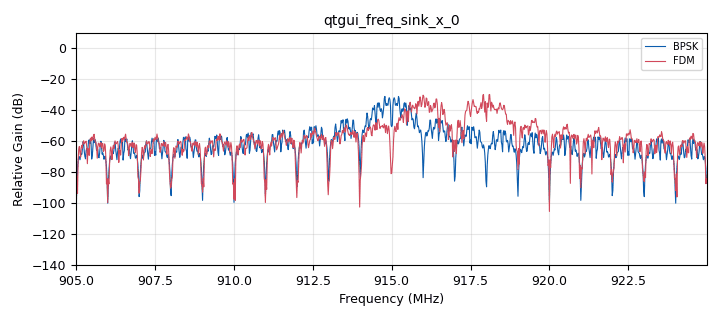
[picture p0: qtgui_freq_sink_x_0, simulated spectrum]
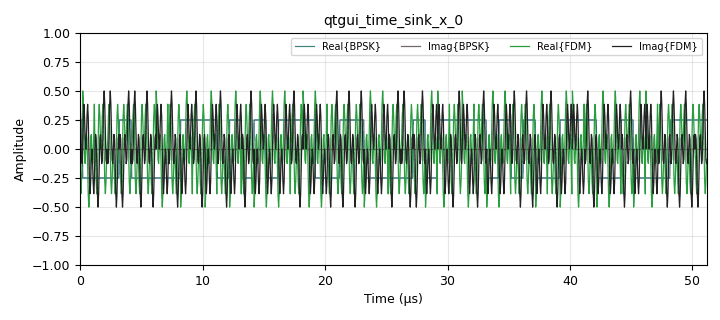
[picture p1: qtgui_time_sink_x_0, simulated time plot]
options:
  parameters:
    author: ucanlab
    generate_options: qt_gui
    id: SDR_Hardware_03
    output_language: python
    title: 'GR Tutorial: USRPs'
  states: {}

blocks:
- name: IF1
  id: variable_qtgui_range
  parameters:
    gui_hint: 0,3,1,1
    label: Intermediate Frequency 1
    orient: Qt.Horizontal
    start: '0'
    step: '1000000'
    stop: '5000000'
    value: '1000000'
  states: {}
- name: IF2
  id: variable_qtgui_range
  parameters:
    gui_hint: 1,3,1,1
    label: Intermediate Frequency 2
    orient: Qt.Horizontal
    start: '0'
    step: '1000000'
    stop: '5000000'
    value: '3000000'
  states: {}
- name: Rx_Gain
  id: variable_qtgui_range
  parameters:
    gui_hint: 1,2,1,1
    label: Rx gain
    orient: Qt.Horizontal
    rangeType: int
    start: '10'
    step: '5'
    stop: '70'
    value: '40'
  states: {}
- name: Tx_Gain
  id: variable_qtgui_range
  parameters:
    gui_hint: 0,2,1,1
    label: Tx gain
    orient: Qt.Horizontal
    rangeType: int
    start: '10'
    step: '5'
    stop: '70'
    value: '40'
  states: {}
- name: fc_rx
  id: variable_qtgui_range
  parameters:
    gui_hint: 1,1,1,1
    label: Center Frequency - Rx
    orient: Qt.Horizontal
    start: '910000000'
    step: '1000000'
    stop: '920000000'
    value: '915000000'
  states: {}
- name: fc_tx
  id: variable_qtgui_range
  parameters:
    gui_hint: 0,1,1,1
    label: Center Frequency - Tx
    orient: Qt.Horizontal
    start: '910000000'
    step: '1000000'
    stop: '920000000'
    value: '915000000'
  states: {}
- name: interp
  id: variable
  parameters:
    value: int(samp_rate/sig_freq)
  states: {}
- name: path_select
  id: variable_qtgui_chooser
  parameters:
    gui_hint: 0,0,1,1
    label: Source Signal
    label0: Single BPSK
    label1: 2 BPSK w/ FDM
    num_opts: '2'
    option0: '0'
    option1: '1'
    type: int
    value: '0'
  states: {}
- name: samp_rate
  id: variable
  parameters:
    value: '20000000'
  states: {}
- name: scale
  id: variable
  parameters:
    value: '0.5'
  states: {}
- name: sig_freq
  id: variable_qtgui_range
  parameters:
    gui_hint: 1,0,1,1
    label: Signal Frequency
    orient: Qt.Horizontal
    start: '1000000'
    step: '1000000'
    stop: '5000000'
    value: '1000000'
  states: {}
- name: analog_const_source_x_0_0
  id: analog_const_source_x
  parameters:
    const: '0'
    type: float
  states: {}
- name: analog_const_source_x_0_0_0
  id: analog_const_source_x
  parameters:
    const: '0'
    type: float
  states: {}
- name: analog_const_source_x_0_0_0_0
  id: analog_const_source_x
  parameters:
    const: '0'
    type: float
  states: {}
- name: analog_random_source_x_0
  id: analog_random_source_x
  parameters:
    max: '2'
    min: '0'
    num_samps: '1000'
    repeat: 'True'
    type: int
  states: {}
- name: analog_random_source_x_0_0
  id: analog_random_source_x
  parameters:
    max: '2'
    min: '0'
    num_samps: '1000'
    repeat: 'True'
    type: int
  states: {}
- name: analog_random_source_x_0_0_0
  id: analog_random_source_x
  parameters:
    max: '2'
    min: '0'
    num_samps: '1000'
    repeat: 'True'
    type: int
  states: {}
- name: analog_sig_source_x_2
  id: analog_sig_source_x
  parameters:
    amp: '1'
    freq: IF2
    offset: '0'
    phase: '0'
    samp_rate: samp_rate
    type: complex
    waveform: analog.GR_COS_WAVE
  states: {}
- name: analog_sig_source_x_2_0
  id: analog_sig_source_x
  parameters:
    amp: '1'
    freq: IF1
    offset: '0'
    phase: '0'
    samp_rate: samp_rate
    type: complex
    waveform: analog.GR_COS_WAVE
  states: {}
- name: blocks_add_const_vxx_1
  id: blocks_add_const_vxx
  parameters:
    const: '-(scale/2)'
    type: float
  states: {}
- name: blocks_add_const_vxx_1_0
  id: blocks_add_const_vxx
  parameters:
    const: '-(scale/2)'
    type: float
  states: {}
- name: blocks_add_const_vxx_1_0_0
  id: blocks_add_const_vxx
  parameters:
    const: '-(scale/2)'
    type: float
  states: {}
- name: blocks_add_xx_0
  id: blocks_add_xx
  parameters:
    type: complex
  states: {}
- name: blocks_float_to_complex_0_0
  id: blocks_float_to_complex
  parameters: {}
  states: {}
- name: blocks_float_to_complex_0_0_0
  id: blocks_float_to_complex
  parameters: {}
  states: {}
- name: blocks_float_to_complex_0_0_0_0
  id: blocks_float_to_complex
  parameters: {}
  states: {}
- name: blocks_int_to_float_0
  id: blocks_int_to_float
  parameters:
    scale: 1/scale
  states: {}
- name: blocks_int_to_float_0_0
  id: blocks_int_to_float
  parameters:
    scale: 1/scale
  states: {}
- name: blocks_int_to_float_0_0_0
  id: blocks_int_to_float
  parameters:
    scale: 1/scale
  states: {}
- name: blocks_multiply_xx_0
  id: blocks_multiply_xx
  parameters:
    type: complex
  states: {}
- name: blocks_multiply_xx_0_0
  id: blocks_multiply_xx
  parameters:
    type: complex
  states: {}
- name: blocks_repeat_0
  id: blocks_repeat
  parameters:
    interp: interp
    type: float
  states: {}
- name: blocks_repeat_0_0
  id: blocks_repeat
  parameters:
    interp: interp
    type: float
  states: {}
- name: blocks_repeat_0_0_0
  id: blocks_repeat
  parameters:
    interp: interp
    type: float
  states: {}
- name: blocks_selector_0
  id: blocks_selector
  parameters:
    enabled: 'True'
    input_index: path_select
    num_inputs: '2'
    num_outputs: '1'
    output_index: '0'
    type: complex
  states: {}
- name: note_0_0
  id: note
  parameters:
    note: BPSK
  states: {}
- name: note_0_0_0
  id: note
  parameters:
    note: FDM
  states: {}
- name: note_1_0
  id: note
  parameters:
    note: Transmitter
  states: {}
- name: note_1_0_0
  id: note
  parameters:
    note: Receiver
  states: {}
- name: qtgui_freq_sink_x_0
  id: qtgui_freq_sink_x
  parameters:
    bw: samp_rate
    fc: fc_tx
    fftsize: '1024'
    gui_hint: 3,2,1,2
    label1: BPSK
    label2: FDM
    nconnections: '2'
    type: complex
    wintype: firdes.WIN_BLACKMAN_hARRIS
  states: {}
- name: qtgui_sink_x_0
  id: qtgui_sink_x
  parameters:
    bw: samp_rate
    fc: fc_rx
    fftsize: '1024'
    gui_hint: 2,0,1,4
    name: '"Rx Signal"'
    plotconst: 'False'
    showrf: 'True'
    type: complex
    wintype: firdes.WIN_BLACKMAN_hARRIS
  states: {}
- name: qtgui_time_sink_x_0
  id: qtgui_time_sink_x
  parameters:
    gui_hint: 3,0,1,2
    label1: Real{BPSK}
    label2: Imag{BPSK}
    label3: Real{FDM}
    label4: Imag{FDM}
    nconnections: '2'
    size: '1024'
    srate: samp_rate
    type: complex
  states: {}
- name: rx_addr
  id: parameter
  parameters:
    label: RX Address
    short_id: r
    type: str
    value: '3279500'
  states: {}
- name: tx_addr
  id: parameter
  parameters:
    label: TX Address
    short_id: t
    type: str
    value: '3279417'
  states: {}
- name: uhd_usrp_sink_0
  id: uhd_usrp_sink
  parameters:
    ant0: TX/RX
    center_freq0: fc_tx
    dev_addr: '"serial=" + tx_addr'
    dev_args: '""'
    gain0: Tx_Gain
    len_tag_name: ''
    norm_gain0: 'False'
    samp_rate: samp_rate
    sync: none
    type: fc32
  states: {}
- name: uhd_usrp_source_0
  id: uhd_usrp_source
  parameters:
    ant0: RX2
    center_freq0: fc_rx
    dc_offs_enb0: '""'
    dev_addr: '"serial=" + rx_addr'
    dev_args: '""'
    gain0: Rx_Gain
    iq_imbal_enb0: '""'
    norm_gain0: 'False'
    samp_rate: samp_rate
    sync: none
    type: fc32
  states: {}
- name: virtual_sink_0
  id: virtual_sink
  parameters:
    stream_id: TxSignal_BPSK
  states: {}
- name: virtual_sink_0_0_0_0
  id: virtual_sink
  parameters:
    stream_id: TxSignal_FDM
  states: {}
- name: virtual_source_0
  id: virtual_source
  parameters:
    stream_id: TxSignal_BPSK
  states: {}
- name: virtual_source_0_0
  id: virtual_source
  parameters:
    stream_id: TxSignal_FDM
  states: {}
- name: virtual_source_0_0_0
  id: virtual_source
  parameters:
    stream_id: TxSignal_FDM
  states: {}
- name: virtual_source_0_1
  id: virtual_source
  parameters:
    stream_id: TxSignal_BPSK
  states: {}

connections:
- [analog_const_source_x_0_0, '0', blocks_float_to_complex_0_0, '1']
- [analog_const_source_x_0_0_0, '0', blocks_float_to_complex_0_0_0, '1']
- [analog_const_source_x_0_0_0_0, '0', blocks_float_to_complex_0_0_0_0, '1']
- [analog_random_source_x_0, '0', blocks_int_to_float_0, '0']
- [analog_random_source_x_0_0, '0', blocks_int_to_float_0_0, '0']
- [analog_random_source_x_0_0_0, '0', blocks_int_to_float_0_0_0, '0']
- [analog_sig_source_x_2, '0', blocks_multiply_xx_0, '1']
- [analog_sig_source_x_2_0, '0', blocks_multiply_xx_0_0, '1']
- [blocks_add_const_vxx_1, '0', blocks_float_to_complex_0_0, '0']
- [blocks_add_const_vxx_1_0, '0', blocks_float_to_complex_0_0_0, '0']
- [blocks_add_const_vxx_1_0_0, '0', blocks_float_to_complex_0_0_0_0, '0']
- [blocks_add_xx_0, '0', virtual_sink_0_0_0_0, '0']
- [blocks_float_to_complex_0_0, '0', virtual_sink_0, '0']
- [blocks_float_to_complex_0_0_0, '0', blocks_multiply_xx_0_0, '0']
- [blocks_float_to_complex_0_0_0_0, '0', blocks_multiply_xx_0, '0']
- [blocks_int_to_float_0, '0', blocks_repeat_0, '0']
- [blocks_int_to_float_0_0, '0', blocks_repeat_0_0, '0']
- [blocks_int_to_float_0_0_0, '0', blocks_repeat_0_0_0, '0']
- [blocks_multiply_xx_0, '0', blocks_add_xx_0, '1']
- [blocks_multiply_xx_0_0, '0', blocks_add_xx_0, '0']
- [blocks_repeat_0, '0', blocks_add_const_vxx_1, '0']
- [blocks_repeat_0_0, '0', blocks_add_const_vxx_1_0, '0']
- [blocks_repeat_0_0_0, '0', blocks_add_const_vxx_1_0_0, '0']
- [blocks_selector_0, '0', uhd_usrp_sink_0, '0']
- [uhd_usrp_source_0, '0', qtgui_sink_x_0, '0']
- [virtual_source_0, '0', blocks_selector_0, '0']
- [virtual_source_0_0, '0', blocks_selector_0, '1']
- [virtual_source_0_0_0, '0', qtgui_freq_sink_x_0, '1']
- [virtual_source_0_0_0, '0', qtgui_time_sink_x_0, '1']
- [virtual_source_0_1, '0', qtgui_freq_sink_x_0, '0']
- [virtual_source_0_1, '0', qtgui_time_sink_x_0, '0']

metadata:
  file_format: 1
